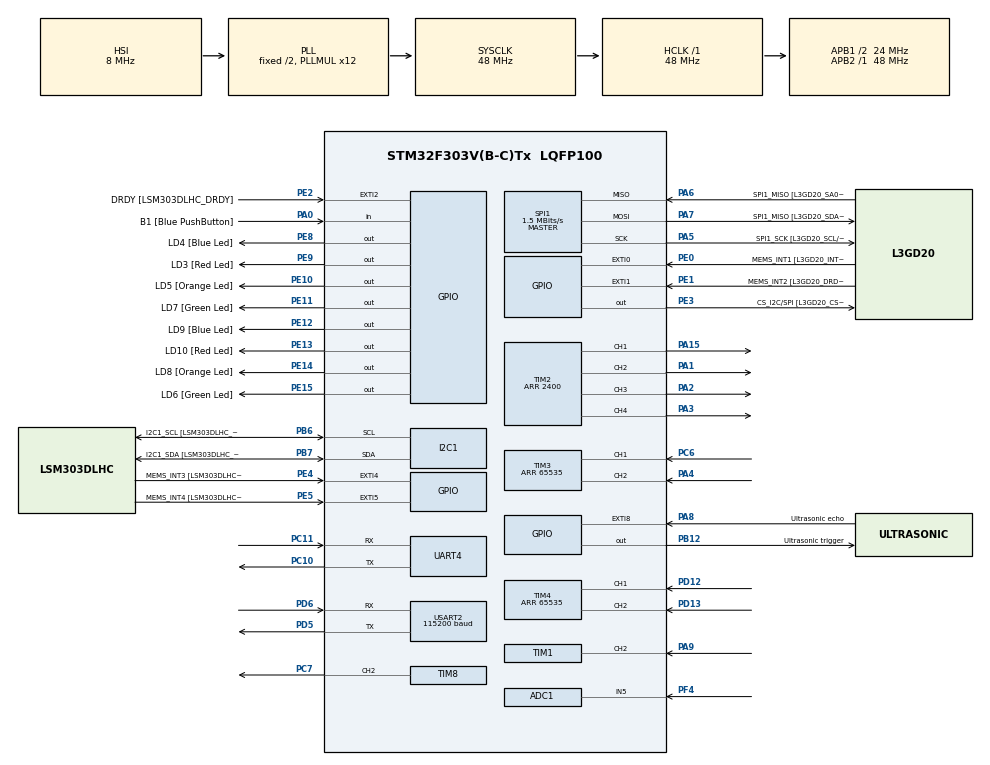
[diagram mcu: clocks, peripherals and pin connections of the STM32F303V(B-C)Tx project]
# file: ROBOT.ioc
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ADC1.Channel-0\#ChannelRegularConversion=ADC_CHANNEL_5
ADC1.ContinuousConvMode=ENABLE
ADC1.NbrOfConversionFlag=1
ADC1.Offset-0\#ChannelRegularConversion=0
ADC1.OffsetNumber-0\#ChannelRegularConversion=ADC_OFFSET_NONE
ADC1.Rank-0\#ChannelRegularConversion=1
ADC1.SamplingTime-0\#ChannelRegularConversion=ADC_SAMPLETIME_1CYCLE_5
ADC1.master=1
Dma.Request0=UART4_RX
Dma.Request1=UART4_TX
Dma.Request2=USART2_RX
Dma.Request3=USART2_TX
Dma.UART4_RX.0.Direction=DMA_PERIPH_TO_MEMORY
Dma.UART4_RX.0.Instance=DMA2_Channel3
Dma.UART4_RX.0.MemDataAlignment=DMA_MDATAALIGN_BYTE
Dma.UART4_RX.0.MemInc=DMA_MINC_ENABLE
Dma.UART4_RX.0.Mode=DMA_NORMAL
Dma.UART4_RX.0.PeriphDataAlignment=DMA_PDATAALIGN_BYTE
Dma.UART4_RX.0.PeriphInc=DMA_PINC_DISABLE
Dma.UART4_RX.0.Priority=DMA_PRIORITY_LOW
Dma.UART4_TX.1.Direction=DMA_MEMORY_TO_PERIPH
Dma.UART4_TX.1.Instance=DMA2_Channel5
Dma.UART4_TX.1.MemDataAlignment=DMA_MDATAALIGN_BYTE
Dma.UART4_TX.1.MemInc=DMA_MINC_ENABLE
Dma.UART4_TX.1.Mode=DMA_NORMAL
Dma.UART4_TX.1.PeriphDataAlignment=DMA_PDATAALIGN_BYTE
Dma.UART4_TX.1.PeriphInc=DMA_PINC_DISABLE
Dma.UART4_TX.1.Priority=DMA_PRIORITY_LOW
Dma.USART2_RX.2.Direction=DMA_PERIPH_TO_MEMORY
Dma.USART2_RX.2.Instance=DMA1_Channel6
Dma.USART2_RX.2.MemDataAlignment=DMA_MDATAALIGN_BYTE
Dma.USART2_RX.2.MemInc=DMA_MINC_ENABLE
Dma.USART2_RX.2.Mode=DMA_NORMAL
Dma.USART2_RX.2.PeriphDataAlignment=DMA_PDATAALIGN_BYTE
Dma.USART2_RX.2.PeriphInc=DMA_PINC_DISABLE
Dma.USART2_RX.2.Priority=DMA_PRIORITY_LOW
Dma.USART2_TX.3.Direction=DMA_MEMORY_TO_PERIPH
Dma.USART2_TX.3.Instance=DMA1_Channel7
Dma.USART2_TX.3.MemDataAlignment=DMA_MDATAALIGN_BYTE
Dma.USART2_TX.3.MemInc=DMA_MINC_ENABLE
Dma.USART2_TX.3.Mode=DMA_NORMAL
Dma.USART2_TX.3.PeriphDataAlignment=DMA_PDATAALIGN_BYTE
Dma.USART2_TX.3.PeriphInc=DMA_PINC_DISABLE
Dma.USART2_TX.3.Priority=DMA_PRIORITY_LOW
FREERTOS.Tasks01=defaultTask,-3,128,StartDefaultTask;sensorTask,0,128,StartSensorTask;motorCtrlTask,2,128,StartMotorCtrllTask
Mcu.Family=STM32F3
Mcu.Name=STM32F303V(B-C)Tx
Mcu.Package=LQFP100
NVIC.DMA1_Channel6_IRQn=true\:5\:0\:false
NVIC.DMA1_Channel7_IRQn=true\:5\:0\:false
NVIC.DMA2_Channel3_IRQn=true\:5\:0\:false
NVIC.DMA2_Channel5_IRQn=true\:5\:0\:false
NVIC.EXTI9_5_IRQn=true\:5\:0\:false
NVIC.PriorityGroup=NVIC_PRIORITYGROUP_4
NVIC.TIM1_CC_IRQn=true\:5\:0\:true
NVIC.TIM7_IRQn=true\:5\:0\:false
NVIC.TimeBase=TIM7_IRQn
NVIC.TimeBaseIP=TIM7
NVIC.UART4_IRQn=true\:5\:0\:false
NVIC.USART2_IRQn=true\:5\:0\:false
PA0.GPIO_Label=B1 [Blue PushButton]
PA0.GPIO_Mode=GPIO_MODE_INPUT
PA0.GPIO_PuPd=GPIO_NOPULL
PA0.Signal=GPIO_Input
PA1.Signal=S_TIM2_CH2
PA11.GPIO_Label=DM
PA11.Signal=USB_DM
PA12.GPIO_Label=DP
PA12.Signal=USB_DP
PA13.GPIO_Label=SWDIO
PA13.Mode=Trace-Asynchronous_SW
PA13.Signal=SYS_JTMS-SWDIO
PA14.GPIO_Label=SWCLK
PA14.Mode=Trace-Asynchronous_SW
PA14.Signal=SYS_JTCK-SWCLK
PA15.Signal=S_TIM2_CH1_ETR
PA2.Signal=S_TIM2_CH3
PA3.Signal=S_TIM2_CH4
PA4.GPIO_PuPd=GPIO_PULLUP
PA4.Signal=S_TIM3_CH2
PA5.GPIO_Label=SPI1_SCK [L3GD20_SCL/SPC]
PA5.GPIO_Mode=GPIO_MODE_AF_PP
PA5.GPIO_PuPd=GPIO_NOPULL
PA5.GPIO_Speed=GPIO_SPEED_LOW
PA5.Mode=Full_Duplex_Master
PA5.Signal=SPI1_SCK
PA6.GPIO_Label=SPI1_MISO [L3GD20_SA0/SDO]
PA6.GPIO_Mode=GPIO_MODE_AF_PP
PA6.GPIO_PuPd=GPIO_NOPULL
PA6.GPIO_Speed=GPIO_SPEED_LOW
PA6.Mode=Full_Duplex_Master
PA6.Signal=SPI1_MISO
PA7.GPIO_Label=SPI1_MISO [L3GD20_SDA/SDI/SDO]
PA7.GPIO_Mode=GPIO_MODE_AF_PP
PA7.GPIO_PuPd=GPIO_NOPULL
PA7.GPIO_Speed=GPIO_SPEED_LOW
PA7.Mode=Full_Duplex_Master
PA7.Signal=SPI1_MOSI
PA8.GPIO_Label=Ultrasonic echo
PA8.GPIO_ModeDefaultEXTI=GPIO_MODE_IT_RISING_FALLING
PA8.Signal=GPXTI8
PA9.Signal=S_TIM1_CH2
PB12.GPIO_Label=Ultrasonic trigger
PB12.GPIO_Speed=GPIO_SPEED_HIGH
PB12.Signal=GPIO_Output
PB3.GPIO_Label=SWO
PB3.Mode=Trace-Asynchronous_SW
PB3.Signal=SYS_JTDO-TRACESWO
PB6.GPIO_FM6=__NULL
PB6.GPIO_Label=I2C1_SCL [LSM303DLHC_SCL]
PB6.GPIO_Mode=GPIO_MODE_AF_OD
PB6.GPIO_PuPd=GPIO_NOPULL
PB6.GPIO_Speed=GPIO_SPEED_LOW
PB6.Mode=I2C
PB6.Signal=I2C1_SCL
PB7.GPIO_FM7=__NULL
PB7.GPIO_Label=I2C1_SDA [LSM303DLHC_SDA]
PB7.GPIO_Mode=GPIO_MODE_AF_OD
PB7.GPIO_PuPd=GPIO_NOPULL
PB7.GPIO_Speed=GPIO_SPEED_LOW
PB7.Mode=I2C
PB7.Signal=I2C1_SDA
PC10.Mode=Asynchronous
PC10.Signal=UART4_TX
PC11.Mode=Asynchronous
PC11.Signal=UART4_RX
PC14-OSC32_IN.GPIO_Label=OSC32_IN
PC14-OSC32_IN.Signal=RCC_OSC32_IN
PC15-OSC32_OUT.GPIO_Label=OSC32_OUT
PC15-OSC32_OUT.Signal=RCC_OSC32_OUT
PC6.GPIO_PuPd=GPIO_PULLUP
PC6.Signal=S_TIM3_CH1
PC7.Signal=S_TIM8_CH2
PD12.GPIO_PuPd=GPIO_PULLUP
PD12.Signal=S_TIM4_CH1
PD13.GPIO_PuPd=GPIO_PULLUP
PD13.Signal=S_TIM4_CH2
PD5.Mode=Asynchronous
PD5.Signal=USART2_TX
PD6.Mode=Asynchronous
PD6.Signal=USART2_RX
PE0.GPIO_Label=MEMS_INT1 [L3GD20_INT1]
PE0.GPIO_ModeDefaultEXTI=GPIO_MODE_EVT_RISING
PE0.GPIO_PuPd=GPIO_NOPULL
PE0.Signal=GPXTI0
PE1.GPIO_Label=MEMS_INT2 [L3GD20_DRDY/INT2]
PE1.GPIO_ModeDefaultEXTI=GPIO_MODE_EVT_RISING
PE1.GPIO_PuPd=GPIO_NOPULL
PE1.Signal=GPXTI1
PE10.GPIO_Label=LD5 [Orange Led]
PE10.GPIO_ModeDefaultOutputPP=GPIO_MODE_OUTPUT_PP
PE10.GPIO_PuPd=GPIO_NOPULL
PE10.GPIO_Speed=GPIO_SPEED_LOW
PE10.Signal=GPIO_Output
PE11.GPIO_Label=LD7 [Green Led]
PE11.GPIO_ModeDefaultOutputPP=GPIO_MODE_OUTPUT_PP
PE11.GPIO_PuPd=GPIO_NOPULL
PE11.GPIO_Speed=GPIO_SPEED_LOW
PE11.Signal=GPIO_Output
PE12.GPIO_Label=LD9 [Blue Led]
PE12.GPIO_ModeDefaultOutputPP=GPIO_MODE_OUTPUT_PP
PE12.GPIO_PuPd=GPIO_NOPULL
PE12.GPIO_Speed=GPIO_SPEED_LOW
PE12.Signal=GPIO_Output
PE13.GPIO_Label=LD10 [Red Led]
PE13.GPIO_ModeDefaultOutputPP=GPIO_MODE_OUTPUT_PP
PE13.GPIO_PuPd=GPIO_NOPULL
PE13.GPIO_Speed=GPIO_SPEED_LOW
PE13.Signal=GPIO_Output
PE14.GPIO_Label=LD8 [Orange Led]
PE14.GPIO_ModeDefaultOutputPP=GPIO_MODE_OUTPUT_PP
PE14.GPIO_PuPd=GPIO_NOPULL
PE14.GPIO_Speed=GPIO_SPEED_LOW
PE14.Signal=GPIO_Output
PE15.GPIO_Label=LD6 [Green Led]
PE15.GPIO_ModeDefaultOutputPP=GPIO_MODE_OUTPUT_PP
PE15.GPIO_PuPd=GPIO_NOPULL
PE15.GPIO_Speed=GPIO_SPEED_LOW
PE15.Signal=GPIO_Output
PE2.GPIO_Label=DRDY [LSM303DLHC_DRDY]
PE2.GPIO_ModeDefaultEXTI=GPIO_MODE_EVT_RISING
PE2.GPIO_PuPd=GPIO_NOPULL
PE2.Signal=GPXTI2
PE3.GPIO_Label=CS_I2C/SPI [L3GD20_CS_I2C/SPI]
PE3.GPIO_ModeDefaultOutputPP=GPIO_MODE_OUTPUT_PP
PE3.GPIO_PuPd=GPIO_NOPULL
PE3.GPIO_Speed=GPIO_SPEED_LOW
PE3.Signal=GPIO_Output
PE4.GPIO_Label=MEMS_INT3 [LSM303DLHC_INT1]
PE4.GPIO_ModeDefaultEXTI=GPIO_MODE_EVT_RISING
PE4.GPIO_PuPd=GPIO_NOPULL
PE4.Signal=GPXTI4
PE5.GPIO_Label=MEMS_INT4 [LSM303DLHC_INT2]
PE5.GPIO_ModeDefaultEXTI=GPIO_MODE_EVT_RISING
PE5.GPIO_PuPd=GPIO_NOPULL
PE5.Signal=GPXTI5
PE8.GPIO_Label=LD4 [Blue Led]
PE8.GPIO_ModeDefaultOutputPP=GPIO_MODE_OUTPUT_PP
PE8.GPIO_PuPd=GPIO_NOPULL
PE8.GPIO_Speed=GPIO_SPEED_LOW
PE8.Signal=GPIO_Output
PE9.GPIO_Label=LD3 [Red Led]
PE9.GPIO_ModeDefaultOutputPP=GPIO_MODE_OUTPUT_PP
PE9.GPIO_PuPd=GPIO_NOPULL
PE9.GPIO_Speed=GPIO_SPEED_LOW
PE9.Signal=GPIO_Output
PF0-OSC_IN.GPIO_Label=OSC_IN
PF0-OSC_IN.Signal=RCC_OSC_IN
PF1-OSC_OUT.GPIO_Label=OSC_OUT
PF1-OSC_OUT.Signal=RCC_OSC_OUT
PF4.Mode=IN5-Single-Ended
PF4.Signal=ADC1_IN5
ProjectManager.TargetToolchain=EWARM
RCC.AHBFreq_Value=48000000
RCC.APB1CLKDivider=RCC_HCLK_DIV2
RCC.APB1Freq_Value=24000000
RCC.APB1TimFreq_Value=48000000
RCC.APB2Freq_Value=48000000
RCC.APB2TimFreq_Value=48000000
RCC.CortexFreq_Value=48000000
RCC.HCLKFreq_Value=48000000
RCC.HSE_VALUE=8000000
RCC.HSI_VALUE=8000000
RCC.LSE_VALUE=32768
RCC.PLLMUL=RCC_PLL_MUL12
RCC.SYSCLKFreq_VALUE=48000000
RCC.SYSCLKSourceVirtual=RCC_SYSCLKSOURCE_PLLCLK
RCC.USBFreq_Value=48000000
SH.S_TIM1_CH2.0=TIM1_CH2,PWM_Input_2
SH.S_TIM2_CH1_ETR.0=TIM2_CH1,PWM Generation1 CH1
SH.S_TIM2_CH2.0=TIM2_CH2,PWM Generation2 CH2
SH.S_TIM2_CH3.0=TIM2_CH3,PWM Generation3 CH3
SH.S_TIM2_CH4.0=TIM2_CH4,PWM Generation4 CH4
SH.S_TIM3_CH1.0=TIM3_CH1,Encoder_Interface
SH.S_TIM3_CH2.0=TIM3_CH2,Encoder_Interface
SH.S_TIM4_CH1.0=TIM4_CH1,Encoder_Interface
SH.S_TIM4_CH2.0=TIM4_CH2,Encoder_Interface
SH.S_TIM8_CH2.0=TIM8_CH2,PWM Generation2 CH2
SPI1.BaudRatePrescaler=SPI_BAUDRATEPRESCALER_32
SPI1.CalculateBaudRate=1.5 MBits/s
SPI1.Mode=SPI_MODE_MASTER
TIM1.ICPolarity_1=TIM_INPUTCHANNELPOLARITY_FALLING
TIM1.Period=65535
TIM1.Prescaler=480
TIM2.Channel-PWM\ Generation2\ CH2=TIM_CHANNEL_2
TIM2.Channel-PWM\ Generation3\ CH3=TIM_CHANNEL_3
TIM2.Channel-PWM\ Generation4\ CH4=TIM_CHANNEL_4
TIM2.Period=2400
TIM3.EncoderMode=TIM_ENCODERMODE_TI12
TIM3.IC1Filter=5
TIM3.IC2Filter=5
TIM3.Period=65535
TIM4.EncoderMode=TIM_ENCODERMODE_TI12
TIM4.IC1Filter=5
TIM4.IC2Filter=5
TIM4.Period=65535
TIM6.Period=65535
TIM8.Channel-PWM\ Generation2\ CH2=TIM_CHANNEL_2
TIM8.Period=2400
USART2.BaudRate=115200
VP_FREERTOS_VS_ENABLE.Mode=Enabled
VP_SYS_VS_tim7.Mode=TIM7
VP_TIM6_VS_ClockSourceINT.Mode=Enable_Timer
board=STM32F3DISCOVERY

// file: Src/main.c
/**
  ******************************************************************************
  * File Name          : main.c
  * Description        : Main program body
  ******************************************************************************
  *
  * COPYRIGHT(c) 2016 STMicroelectronics
  *
  * Redistribution and use in source and binary forms, with or without modification,
  * are permitted provided that the following conditions are met:
  *   1. Redistributions of source code must retain the above copyright notice,
  *      this list of conditions and the following disclaimer.
  *   2. Redistributions in binary form must reproduce the above copyright notice,
  *      this list of conditions and the following disclaimer in the documentation
  *      and/or other materials provided with the distribution.
  *   3. Neither the name of STMicroelectronics nor the names of its contributors
  *      may be used to endorse or promote products derived from this software
  *      without specific prior written permission.
  *
  * THIS SOFTWARE IS PROVIDED BY THE COPYRIGHT HOLDERS AND CONTRIBUTORS "AS IS"
  * AND ANY EXPRESS OR IMPLIED WARRANTIES, INCLUDING, BUT NOT LIMITED TO, THE
  * IMPLIED WARRANTIES OF MERCHANTABILITY AND FITNESS FOR A PARTICULAR PURPOSE ARE
  * DISCLAIMED. IN NO EVENT SHALL THE COPYRIGHT HOLDER OR CONTRIBUTORS BE LIABLE
  * FOR ANY DIRECT, INDIRECT, INCIDENTAL, SPECIAL, EXEMPLARY, OR CONSEQUENTIAL
  * DAMAGES (INCLUDING, BUT NOT LIMITED TO, PROCUREMENT OF SUBSTITUTE GOODS OR
  * SERVICES; LOSS OF USE, DATA, OR PROFITS; OR BUSINESS INTERRUPTION) HOWEVER
  * CAUSED AND ON ANY THEORY OF LIABILITY, WHETHER IN CONTRACT, STRICT LIABILITY,
  * OR TORT (INCLUDING NEGLIGENCE OR OTHERWISE) ARISING IN ANY WAY OUT OF THE USE
  * OF THIS SOFTWARE, EVEN IF ADVISED OF THE POSSIBILITY OF SUCH DAMAGE.
  *
  ******************************************************************************
  */
#include "stm32f3xx_hal.h"
#include "cmsis_os.h"

/* USER CODE BEGIN Includes */
#include <stdlib.h>
#include <math.h>
#include "main.h"
#include "filter.h"
/* USER CODE END Includes */

ADC_HandleTypeDef hadc1;

I2C_HandleTypeDef hi2c1;

SPI_HandleTypeDef hspi1;

TIM_HandleTypeDef htim1;
TIM_HandleTypeDef htim2;
TIM_HandleTypeDef htim3;
TIM_HandleTypeDef htim4;
TIM_HandleTypeDef htim6;
TIM_HandleTypeDef htim8;

UART_HandleTypeDef huart4;
UART_HandleTypeDef huart2;
DMA_HandleTypeDef hdma_uart4_rx;
DMA_HandleTypeDef hdma_uart4_tx;
DMA_HandleTypeDef hdma_usart2_rx;
DMA_HandleTypeDef hdma_usart2_tx;

osThreadId defaultTaskHandle;
osThreadId sensorTaskHandle;
osThreadId motorCtrlTaskHandle;

/* USER CODE BEGIN PV */
/* Private variables ---------------------------------------------------------*/
static const uint16_t inputAxis[10]     = {0,  1, 5, 10, 20, 30, 50, 70, 85, 100};
static const float outCurve[10] = {0, 0.1, 0.25, 0.35, 0.5, 0.55, 0.65, 0.9, 1.3, 2.0};  // komfort

uint32_t msTime = 0;
uint32_t uart4RxTimeStamp = 0;

static volatile int16_t rawAngleLeft = 0;
static volatile int16_t rawAngleRight = 0;
static float toMeterFactor = 0.0082;
static float posLeft = 0.0;
static float posRight = 0.0;
static float posLeft_prev = 0.0;
static float posRight_prev = 0.0;
static volatile float spdLeft = 0.0;
static volatile float spdRight = 0.0;
static float spdLeftFiltered = 0.0;
static float spdRightFiltered = 0.0;
//static float accLeft = 0.0;
//static float accRight = 0.0;
//static float accLeftFiltered = 0.0;
//static float accRightFiltered = 0.0;
static volatile float gyroX,gyroY,gyroZ = 0;
static float compassX,compassY,compassZ = 0;
static volatile float compassX_Max,compassY_Max,compassZ_Max = 0;
static volatile float compassX_Min,compassY_Min,compassZ_Min = 0;
static volatile float compassX_Range,compassY_Range,compassZ_Range = 0;
static volatile float compassX_Norm,compassY_Norm,compassZ_Norm = 0;
static volatile float compassX_NormFiltered,compassY_NormFiltered,compassZ_NormFiltered = 0;
static volatile float compassX_NormFilteredTilted,compassY_NormFilteredTilted = 0.0f;
static volatile float roll,pitch,heading = 0;

static volatile float temperature,temperatureGyro = 0;

static volatile float fNormAcc,fSinRoll,fCosRoll,fSinPitch,fCosPitch = 0.0f;

static volatile float accX,accY,accZ = 0;
static volatile float accXFiltered,accYFiltered,accZFiltered = 0;
static volatile float accXFilteredKalman,accYFilteredKalman,accZFilteredKalman = 0;
static volatile float accXFilteredLPF,accYFilteredLPF,accZFilteredLPF = 0;

static int16_t forceLeft = 0;
static int16_t forceLeftBeforeSaturation = 0;
static int16_t absForceLeft = 0;
static int16_t forceRight = 0;
static int16_t forceRightBeforeSaturation = 0;
static int16_t absForceRight = 0;
static int16_t hillHolderForceLeft = 0;
static int16_t hillHolderForceRight = 0;
static int16_t summaForceLeft = 0;
static int16_t summaForceRight = 0;

static uint16_t UserButtonPressed = 0;
static uint8_t enaSwitch = 1;

static volatile uint16_t rawADC = 0;
static volatile float batteryVoltage = 0;

static volatile uint32_t rawFrontDistance;
static volatile float frontDistance;

static uint8_t receiveBuffer[3]={0};
static float referenceSpeedLeft = 0;
static float referenceSpeedRight = 0;
static volatile float referenceSpeedLeftPrev = 0;
static volatile float referenceSpeedRightPrev = 0;
static float referenceSpeedLeftQualified = 0;
static float referenceSpeedRightQualified = 0;
static uint8_t lastSyncBranch = 2;
static uint8_t syncBranch = 2;
static int8_t syncCorruption = 0;

static volatile float spdErrorLeft = 0;
static volatile float spdErrorLeftBefore = 0;
static volatile float spdIntErrorLeft = 0;
static volatile float spdDerivatedErrorLeft = 0;
static volatile float spdErrorRight = 0;
static volatile float spdErrorRightBefore = 0;
static volatile float spdIntErrorRight = 0;
static volatile float spdDerivatedErrorRight = 0;

static volatile float ctrlP = 40;
static volatile float ctrlI = 0.04;
static volatile float ctrlD = 3;
static volatile float antiWindup = 1;

static volatile float hillHolderGainFW = -0.75;
static volatile float hillHolderGainBW = -0.45;

volatile long int ultrasonicDelay = 0;
static volatile uint16_t echoTimeStamp = 0;

/* USER CODE END PV */

void SystemClock_Config(void);
static void MX_GPIO_Init(void);
static void MX_DMA_Init(void);
static void MX_ADC1_Init(void);
static void MX_I2C1_Init(void);
static void MX_SPI1_Init(void);
static void MX_TIM1_Init(void);
static void MX_TIM2_Init(void);
static void MX_TIM3_Init(void);
static void MX_TIM4_Init(void);
static void MX_TIM6_Init(void);
static void MX_UART4_Init(void);
static void MX_USART2_UART_Init(void);
static void MX_TIM8_Init(void);
void StartDefaultTask(void const * argument);
void StartSensorTask(void const * argument);
void StartMotorCtrllTask(void const * argument);

void HAL_TIM_MspPostInit(TIM_HandleTypeDef *htim);

/* USER CODE BEGIN PFP */
/* Private function prototypes -----------------------------------------------*/

/* USER CODE END PFP */

/* USER CODE BEGIN 0 */
#define PI     3.14159
#define _2PI    6.28318
#define _180_PI 57.2958

#define COMPASS_X_MAX -687//569
#define COMPASS_X_MIN -1751//-560
#define COMPASS_Y_MAX 1055//491
#define COMPASS_Y_MIN -38//-653
#define COMPASS_Z_MAX 517//540
#define COMPASS_Z_MIN -585//-570
/* USER CODE END 0 */

int main(void)
{

  /* MCU Configuration----------------------------------------------------------*/

  /* Reset of all peripherals, Initializes the Flash interface and the Systick. */
  HAL_Init();

  /* Configure the system clock */
  SystemClock_Config();

  /* Initialize all configured peripherals */
  MX_GPIO_Init();
  MX_DMA_Init();
  MX_ADC1_Init();
  MX_I2C1_Init();
  MX_SPI1_Init();
  MX_TIM1_Init();
  MX_TIM2_Init();
  MX_TIM3_Init();
  MX_TIM4_Init();
  MX_TIM6_Init();
  MX_UART4_Init();
  MX_USART2_UART_Init();
  MX_TIM8_Init();

  /* USER CODE BEGIN 2 */
  HAL_TIM_PWM_Start(&htim2, TIM_CHANNEL_1);
  HAL_TIMEx_PWMN_Start(&htim2, TIM_CHANNEL_1);
  HAL_TIM_PWM_Start(&htim2, TIM_CHANNEL_2);
  HAL_TIMEx_PWMN_Start(&htim2, TIM_CHANNEL_2);
  HAL_TIM_PWM_Start(&htim2, TIM_CHANNEL_3);
  HAL_TIMEx_PWMN_Start(&htim2, TIM_CHANNEL_3);
  HAL_TIM_PWM_Start(&htim2, TIM_CHANNEL_4);
  HAL_TIMEx_PWMN_Start(&htim2, TIM_CHANNEL_4);

  HAL_TIM_PWM_Start(&htim8, TIM_CHANNEL_2);
  HAL_TIMEx_PWMN_Start(&htim8, TIM_CHANNEL_2);

  HAL_TIM_Encoder_Start(&htim3,TIM_CHANNEL_ALL);
  HAL_TIM_Encoder_Start(&htim4,TIM_CHANNEL_ALL);

  HAL_ADC_Start(&hadc1);

  HAL_TIM_IC_Start_IT(&htim1, TIM_CHANNEL_1);
  HAL_TIM_IC_Start_IT(&htim1, TIM_CHANNEL_2);

  TIM6->EGR = 1;           // Generate an update event
  TIM6->CR1 = 1;           // Enable the counter

  TIM8->CCR2 = 5*2400/100;

  BSP_PB_Init(BUTTON_USER, BUTTON_MODE_EXTI);
  BSP_LED_Init(LED4);
  BSP_LED_Init(LED3);
  BSP_LED_Init(LED5);
  BSP_LED_Init(LED7);
  BSP_LED_Init(LED9);
  BSP_LED_Init(LED10);
  BSP_LED_Init(LED8);
  BSP_LED_Init(LED6);

  BSP_GYRO_Init();
  BSP_ACCELERO_Init();
  MAGNET_Init();

  /* USER CODE END 2 */

  /* Create the thread(s) */
  /* definition and creation of defaultTask */
  osThreadDef(defaultTask, StartDefaultTask, osPriorityIdle, 0, 128);
  defaultTaskHandle = osThreadCreate(osThread(defaultTask), NULL);

  /* definition and creation of sensorTask */
  osThreadDef(sensorTask, StartSensorTask, osPriorityNormal, 0, 128);
  sensorTaskHandle = osThreadCreate(osThread(sensorTask), NULL);

  /* definition and creation of motorCtrlTask */
  osThreadDef(motorCtrlTask, StartMotorCtrllTask, osPriorityHigh, 0, 128);
  motorCtrlTaskHandle = osThreadCreate(osThread(motorCtrlTask), NULL);

  /* Start scheduler */
  osKernelStart();

  /* We should never get here as control is now taken by the scheduler */

  /* Infinite loop */
  while (1)
  {

  }

}

/** System Clock Configuration
*/
void SystemClock_Config(void)
{

  RCC_OscInitTypeDef RCC_OscInitStruct;
  RCC_ClkInitTypeDef RCC_ClkInitStruct;
  RCC_PeriphCLKInitTypeDef PeriphClkInit;

  RCC_OscInitStruct.OscillatorType = RCC_OSCILLATORTYPE_HSI;
  RCC_OscInitStruct.HSIState = RCC_HSI_ON;
  RCC_OscInitStruct.HSICalibrationValue = 16;
  RCC_OscInitStruct.PLL.PLLState = RCC_PLL_ON;
  RCC_OscInitStruct.PLL.PLLSource = RCC_PLLSOURCE_HSI;
  RCC_OscInitStruct.PLL.PLLMUL = RCC_PLL_MUL12;
  HAL_RCC_OscConfig(&RCC_OscInitStruct);

  RCC_ClkInitStruct.ClockType = RCC_CLOCKTYPE_HCLK|RCC_CLOCKTYPE_SYSCLK
                              |RCC_CLOCKTYPE_PCLK1|RCC_CLOCKTYPE_PCLK2;
  RCC_ClkInitStruct.SYSCLKSource = RCC_SYSCLKSOURCE_PLLCLK;
  RCC_ClkInitStruct.AHBCLKDivider = RCC_SYSCLK_DIV1;
  RCC_ClkInitStruct.APB1CLKDivider = RCC_HCLK_DIV2;
  RCC_ClkInitStruct.APB2CLKDivider = RCC_HCLK_DIV1;
  HAL_RCC_ClockConfig(&RCC_ClkInitStruct, FLASH_LATENCY_1);

  PeriphClkInit.PeriphClockSelection = RCC_PERIPHCLK_USART2|RCC_PERIPHCLK_UART4
                              |RCC_PERIPHCLK_I2C1|RCC_PERIPHCLK_TIM1
                              |RCC_PERIPHCLK_TIM8|RCC_PERIPHCLK_ADC12;
  PeriphClkInit.Usart2ClockSelection = RCC_USART2CLKSOURCE_PCLK1;
  PeriphClkInit.Uart4ClockSelection = RCC_UART4CLKSOURCE_PCLK1;
  PeriphClkInit.Adc12ClockSelection = RCC_ADC12PLLCLK_DIV1;
  PeriphClkInit.I2c1ClockSelection = RCC_I2C1CLKSOURCE_HSI;
  PeriphClkInit.Tim1ClockSelection = RCC_TIM1CLK_HCLK;
  PeriphClkInit.Tim8ClockSelection = RCC_TIM8CLK_HCLK;
  HAL_RCCEx_PeriphCLKConfig(&PeriphClkInit);

  HAL_SYSTICK_Config(HAL_RCC_GetHCLKFreq()/1000);

  HAL_SYSTICK_CLKSourceConfig(SYSTICK_CLKSOURCE_HCLK);

  /* SysTick_IRQn interrupt configuration */
  HAL_NVIC_SetPriority(SysTick_IRQn, 0, 0);
}

/* ADC1 init function */
void MX_ADC1_Init(void)
{

  ADC_ChannelConfTypeDef sConfig;

    /**Common config
    */
  hadc1.Instance = ADC1;
  hadc1.Init.ClockPrescaler = ADC_CLOCK_ASYNC;
  hadc1.Init.Resolution = ADC_RESOLUTION12b;
  hadc1.Init.ScanConvMode = ADC_SCAN_DISABLE;
  hadc1.Init.ContinuousConvMode = ENABLE;
  hadc1.Init.DiscontinuousConvMode = DISABLE;
  hadc1.Init.ExternalTrigConvEdge = ADC_EXTERNALTRIGCONVEDGE_NONE;
  hadc1.Init.DataAlign = ADC_DATAALIGN_RIGHT;
  hadc1.Init.NbrOfConversion = 1;
  hadc1.Init.DMAContinuousRequests = DISABLE;
  hadc1.Init.EOCSelection = EOC_SINGLE_CONV;
  hadc1.Init.LowPowerAutoWait = DISABLE;
  hadc1.Init.Overrun = OVR_DATA_OVERWRITTEN;
  HAL_ADC_Init(&hadc1);

    /**Configure Regular Channel
    */
  sConfig.Channel = ADC_CHANNEL_5;
  sConfig.Rank = 1;
  sConfig.SingleDiff = ADC_SINGLE_ENDED;
  sConfig.SamplingTime = ADC_SAMPLETIME_1CYCLE_5;
  sConfig.OffsetNumber = ADC_OFFSET_NONE;
  sConfig.Offset = 0;
  HAL_ADC_ConfigChannel(&hadc1, &sConfig);

}

/* I2C1 init function */
void MX_I2C1_Init(void)
{

  hi2c1.Instance = I2C1;
  hi2c1.Init.Timing = 0x2000090E;
  hi2c1.Init.OwnAddress1 = 0;
  hi2c1.Init.AddressingMode = I2C_ADDRESSINGMODE_7BIT;
  hi2c1.Init.DualAddressMode = I2C_DUALADDRESS_DISABLED;
  hi2c1.Init.OwnAddress2 = 0;
  hi2c1.Init.OwnAddress2Masks = I2C_OA2_NOMASK;
  hi2c1.Init.GeneralCallMode = I2C_GENERALCALL_DISABLED;
  hi2c1.Init.NoStretchMode = I2C_NOSTRETCH_DISABLED;
  HAL_I2C_Init(&hi2c1);

    /**Configure Analogue filter
    */
  HAL_I2CEx_AnalogFilter_Config(&hi2c1, I2C_ANALOGFILTER_ENABLED);

}

/* SPI1 init function */
void MX_SPI1_Init(void)
{

  hspi1.Instance = SPI1;
  hspi1.Init.Mode = SPI_MODE_MASTER;
  hspi1.Init.Direction = SPI_DIRECTION_2LINES;
  hspi1.Init.DataSize = SPI_DATASIZE_4BIT;
  hspi1.Init.CLKPolarity = SPI_POLARITY_LOW;
  hspi1.Init.CLKPhase = SPI_PHASE_1EDGE;
  hspi1.Init.NSS = SPI_NSS_SOFT;
  hspi1.Init.BaudRatePrescaler = SPI_BAUDRATEPRESCALER_32;
  hspi1.Init.FirstBit = SPI_FIRSTBIT_MSB;
  hspi1.Init.TIMode = SPI_TIMODE_DISABLED;
  hspi1.Init.CRCCalculation = SPI_CRCCALCULATION_DISABLED;
  hspi1.Init.CRCPolynomial = 7;
  hspi1.Init.CRCLength = SPI_CRC_LENGTH_DATASIZE;
  hspi1.Init.NSSPMode = SPI_NSS_PULSE_ENABLED;
  HAL_SPI_Init(&hspi1);

}

/* TIM1 init function */
void MX_TIM1_Init(void)
{

  TIM_SlaveConfigTypeDef sSlaveConfig;
  TIM_IC_InitTypeDef sConfigIC;
  TIM_MasterConfigTypeDef sMasterConfig;

  htim1.Instance = TIM1;
  htim1.Init.Prescaler = 480;
  htim1.Init.CounterMode = TIM_COUNTERMODE_UP;
  htim1.Init.Period = 65535;
  htim1.Init.ClockDivision = TIM_CLOCKDIVISION_DIV1;
  htim1.Init.RepetitionCounter = 0;
  HAL_TIM_IC_Init(&htim1);

  sSlaveConfig.SlaveMode = TIM_SLAVEMODE_RESET;
  sSlaveConfig.InputTrigger = TIM_TS_TI2FP2;
  sSlaveConfig.TriggerPolarity = TIM_INPUTCHANNELPOLARITY_RISING;
  sSlaveConfig.TriggerPrescaler = TIM_ICPSC_DIV1;
  sSlaveConfig.TriggerFilter = 0;
  HAL_TIM_SlaveConfigSynchronization(&htim1, &sSlaveConfig);

  sConfigIC.ICPolarity = TIM_INPUTCHANNELPOLARITY_FALLING;
  sConfigIC.ICSelection = TIM_ICSELECTION_INDIRECTTI;
  sConfigIC.ICPrescaler = TIM_ICPSC_DIV1;
  sConfigIC.ICFilter = 0;
  HAL_TIM_IC_ConfigChannel(&htim1, &sConfigIC, TIM_CHANNEL_1);

  sConfigIC.ICPolarity = TIM_INPUTCHANNELPOLARITY_RISING;
  sConfigIC.ICSelection = TIM_ICSELECTION_DIRECTTI;
  HAL_TIM_IC_ConfigChannel(&htim1, &sConfigIC, TIM_CHANNEL_2);

  sMasterConfig.MasterOutputTrigger = TIM_TRGO_RESET;
  sMasterConfig.MasterOutputTrigger2 = TIM_TRGO2_RESET;
  sMasterConfig.MasterSlaveMode = TIM_MASTERSLAVEMODE_DISABLE;
  HAL_TIMEx_MasterConfigSynchronization(&htim1, &sMasterConfig);

}

/* TIM2 init function */
void MX_TIM2_Init(void)
{

  TIM_MasterConfigTypeDef sMasterConfig;
  TIM_OC_InitTypeDef sConfigOC;

  htim2.Instance = TIM2;
  htim2.Init.Prescaler = 0;
  htim2.Init.CounterMode = TIM_COUNTERMODE_UP;
  htim2.Init.Period = 2400;
  htim2.Init.ClockDivision = TIM_CLOCKDIVISION_DIV1;
  HAL_TIM_PWM_Init(&htim2);

  sMasterConfig.MasterOutputTrigger = TIM_TRGO_RESET;
  sMasterConfig.MasterSlaveMode = TIM_MASTERSLAVEMODE_DISABLE;
  HAL_TIMEx_MasterConfigSynchronization(&htim2, &sMasterConfig);

  sConfigOC.OCMode = TIM_OCMODE_PWM1;
  sConfigOC.Pulse = 0;
  sConfigOC.OCPolarity = TIM_OCPOLARITY_HIGH;
  sConfigOC.OCFastMode = TIM_OCFAST_DISABLE;
  HAL_TIM_PWM_ConfigChannel(&htim2, &sConfigOC, TIM_CHANNEL_1);

  HAL_TIM_PWM_ConfigChannel(&htim2, &sConfigOC, TIM_CHANNEL_2);

  HAL_TIM_PWM_ConfigChannel(&htim2, &sConfigOC, TIM_CHANNEL_3);

  HAL_TIM_PWM_ConfigChannel(&htim2, &sConfigOC, TIM_CHANNEL_4);

  HAL_TIM_MspPostInit(&htim2);

}

/* TIM3 init function */
void MX_TIM3_Init(void)
{

  TIM_Encoder_InitTypeDef sConfig;
  TIM_MasterConfigTypeDef sMasterConfig;

  htim3.Instance = TIM3;
  htim3.Init.Prescaler = 0;
  htim3.Init.CounterMode = TIM_COUNTERMODE_UP;
  htim3.Init.Period = 65535;
  htim3.Init.ClockDivision = TIM_CLOCKDIVISION_DIV1;
  sConfig.EncoderMode = TIM_ENCODERMODE_TI12;
  sConfig.IC1Polarity = TIM_ICPOLARITY_RISING;
  sConfig.IC1Selection = TIM_ICSELECTION_DIRECTTI;
  sConfig.IC1Prescaler = TIM_ICPSC_DIV1;
  sConfig.IC1Filter = 5;
  sConfig.IC2Polarity = TIM_ICPOLARITY_RISING;
  sConfig.IC2Selection = TIM_ICSELECTION_DIRECTTI;
  sConfig.IC2Prescaler = TIM_ICPSC_DIV1;
  sConfig.IC2Filter = 5;
  HAL_TIM_Encoder_Init(&htim3, &sConfig);

  sMasterConfig.MasterOutputTrigger = TIM_TRGO_RESET;
  sMasterConfig.MasterSlaveMode = TIM_MASTERSLAVEMODE_DISABLE;
  HAL_TIMEx_MasterConfigSynchronization(&htim3, &sMasterConfig);

}

/* TIM4 init function */
void MX_TIM4_Init(void)
{

  TIM_Encoder_InitTypeDef sConfig;
  TIM_MasterConfigTypeDef sMasterConfig;

  htim4.Instance = TIM4;
  htim4.Init.Prescaler = 0;
  htim4.Init.CounterMode = TIM_COUNTERMODE_UP;
  htim4.Init.Period = 65535;
  htim4.Init.ClockDivision = TIM_CLOCKDIVISION_DIV1;
  sConfig.EncoderMode = TIM_ENCODERMODE_TI12;
  sConfig.IC1Polarity = TIM_ICPOLARITY_RISING;
  sConfig.IC1Selection = TIM_ICSELECTION_DIRECTTI;
  sConfig.IC1Prescaler = TIM_ICPSC_DIV1;
  sConfig.IC1Filter = 5;
  sConfig.IC2Polarity = TIM_ICPOLARITY_RISING;
  sConfig.IC2Selection = TIM_ICSELECTION_DIRECTTI;
  sConfig.IC2Prescaler = TIM_ICPSC_DIV1;
  sConfig.IC2Filter = 5;
  HAL_TIM_Encoder_Init(&htim4, &sConfig);

  sMasterConfig.MasterOutputTrigger = TIM_TRGO_RESET;
  sMasterConfig.MasterSlaveMode = TIM_MASTERSLAVEMODE_DISABLE;
  HAL_TIMEx_MasterConfigSynchronization(&htim4, &sMasterConfig);

}

/* TIM6 init function */
void MX_TIM6_Init(void)
{

  TIM_MasterConfigTypeDef sMasterConfig;

  htim6.Instance = TIM6;
  htim6.Init.Prescaler = 0;
  htim6.Init.CounterMode = TIM_COUNTERMODE_UP;
  htim6.Init.Period = 65535;
  HAL_TIM_Base_Init(&htim6);

  sMasterConfig.MasterOutputTrigger = TIM_TRGO_RESET;
  sMasterConfig.MasterSlaveMode = TIM_MASTERSLAVEMODE_DISABLE;
  HAL_TIMEx_MasterConfigSynchronization(&htim6, &sMasterConfig);

}

/* TIM8 init function */
void MX_TIM8_Init(void)
{

  TIM_MasterConfigTypeDef sMasterConfig;
  TIM_BreakDeadTimeConfigTypeDef sBreakDeadTimeConfig;
  TIM_OC_InitTypeDef sConfigOC;

  htim8.Instance = TIM8;
  htim8.Init.Prescaler = 0;
  htim8.Init.CounterMode = TIM_COUNTERMODE_UP;
  htim8.Init.Period = 2400;
  htim8.Init.ClockDivision = TIM_CLOCKDIVISION_DIV1;
  htim8.Init.RepetitionCounter = 0;
  HAL_TIM_PWM_Init(&htim8);

  sMasterConfig.MasterOutputTrigger = TIM_TRGO_RESET;
  sMasterConfig.MasterOutputTrigger2 = TIM_TRGO2_RESET;
  sMasterConfig.MasterSlaveMode = TIM_MASTERSLAVEMODE_DISABLE;
  HAL_TIMEx_MasterConfigSynchronization(&htim8, &sMasterConfig);

  sBreakDeadTimeConfig.OffStateRunMode = TIM_OSSR_DISABLE;
  sBreakDeadTimeConfig.OffStateIDLEMode = TIM_OSSI_DISABLE;
  sBreakDeadTimeConfig.LockLevel = TIM_LOCKLEVEL_OFF;
  sBreakDeadTimeConfig.DeadTime = 0;
  sBreakDeadTimeConfig.BreakState = TIM_BREAK_DISABLE;
  sBreakDeadTimeConfig.BreakPolarity = TIM_BREAKPOLARITY_HIGH;
  sBreakDeadTimeConfig.BreakFilter = 0;
  sBreakDeadTimeConfig.Break2State = TIM_BREAK2_DISABLE;
  sBreakDeadTimeConfig.Break2Polarity = TIM_BREAK2POLARITY_HIGH;
  sBreakDeadTimeConfig.Break2Filter = 0;
  sBreakDeadTimeConfig.AutomaticOutput = TIM_AUTOMATICOUTPUT_DISABLE;
  HAL_TIMEx_ConfigBreakDeadTime(&htim8, &sBreakDeadTimeConfig);

  sConfigOC.OCMode = TIM_OCMODE_PWM1;
  sConfigOC.Pulse = 0;
  sConfigOC.OCPolarity = TIM_OCPOLARITY_HIGH;
  sConfigOC.OCNPolarity = TIM_OCNPOLARITY_HIGH;
  sConfigOC.OCFastMode = TIM_OCFAST_DISABLE;
  sConfigOC.OCIdleState = TIM_OCIDLESTATE_RESET;
  sConfigOC.OCNIdleState = TIM_OCNIDLESTATE_RESET;
  HAL_TIM_PWM_ConfigChannel(&htim8, &sConfigOC, TIM_CHANNEL_2);

  HAL_TIM_MspPostInit(&htim8);

}

/* UART4 init function */
void MX_UART4_Init(void)
{

  huart4.Instance = UART4;
  huart4.Init.BaudRate = 115200;
  huart4.Init.WordLength = UART_WORDLENGTH_8B;
  huart4.Init.StopBits = UART_STOPBITS_1;
  huart4.Init.Parity = UART_PARITY_NONE;
  huart4.Init.Mode = UART_MODE_TX_RX;
  huart4.Init.HwFlowCtl = UART_HWCONTROL_NONE;
  huart4.Init.OverSampling = UART_OVERSAMPLING_16;
  huart4.Init.OneBitSampling = UART_ONEBIT_SAMPLING_DISABLED ;
  huart4.AdvancedInit.AdvFeatureInit = UART_ADVFEATURE_NO_INIT;
  HAL_UART_Init(&huart4);

}

/* USART2 init function */
void MX_USART2_UART_Init(void)
{

  huart2.Instance = USART2;
  huart2.Init.BaudRate = 115200;
  huart2.Init.WordLength = UART_WORDLENGTH_8B;
  huart2.Init.StopBits = UART_STOPBITS_1;
  huart2.Init.Parity = UART_PARITY_NONE;
  huart2.Init.Mode = UART_MODE_TX_RX;
  huart2.Init.HwFlowCtl = UART_HWCONTROL_NONE;
  huart2.Init.OverSampling = UART_OVERSAMPLING_16;
  huart2.Init.OneBitSampling = UART_ONEBIT_SAMPLING_DISABLED ;
  huart2.AdvancedInit.AdvFeatureInit = UART_ADVFEATURE_NO_INIT;
  HAL_UART_Init(&huart2);

}

void MX_DMA_Init(void)
{
  /* DMA controller clock enable */
  __DMA2_CLK_ENABLE();
  __DMA1_CLK_ENABLE();

  /* DMA interrupt init */
  HAL_NVIC_SetPriority(DMA1_Channel6_IRQn, 5, 0);
  HAL_NVIC_EnableIRQ(DMA1_Channel6_IRQn);
  HAL_NVIC_SetPriority(DMA1_Channel7_IRQn, 5, 0);
  HAL_NVIC_EnableIRQ(DMA1_Channel7_IRQn);
  HAL_NVIC_SetPriority(DMA2_Channel3_IRQn, 5, 0);
  HAL_NVIC_EnableIRQ(DMA2_Channel3_IRQn);
  HAL_NVIC_SetPriority(DMA2_Channel5_IRQn, 5, 0);
  HAL_NVIC_EnableIRQ(DMA2_Channel5_IRQn);

}

/** Configure pins as
        * Analog
        * Input
        * Output
        * EVENT_OUT
        * EXTI
     PA11   ------> USB_DM
     PA12   ------> USB_DP
*/
void MX_GPIO_Init(void)
{

  GPIO_InitTypeDef GPIO_InitStruct;

  /* GPIO Ports Clock Enable */
  __GPIOE_CLK_ENABLE();
  __GPIOC_CLK_ENABLE();
  __GPIOF_CLK_ENABLE();
  __GPIOA_CLK_ENABLE();
  __GPIOB_CLK_ENABLE();
  __GPIOD_CLK_ENABLE();

  /*Configure GPIO pins : DRDY_Pin MEMS_INT3_Pin MEMS_INT4_Pin MEMS_INT1_Pin
                           MEMS_INT2_Pin */
  GPIO_InitStruct.Pin = DRDY_Pin|MEMS_INT3_Pin|MEMS_INT4_Pin|MEMS_INT1_Pin
                          |MEMS_INT2_Pin;
  GPIO_InitStruct.Mode = GPIO_MODE_EVT_RISING;
  GPIO_InitStruct.Pull = GPIO_NOPULL;
  HAL_GPIO_Init(GPIOE, &GPIO_InitStruct);

  /*Configure GPIO pins : CS_I2C_SPI_Pin LD4_Pin LD3_Pin LD5_Pin
                           LD7_Pin LD9_Pin LD10_Pin LD8_Pin
                           LD6_Pin */
  GPIO_InitStruct.Pin = CS_I2C_SPI_Pin|LD4_Pin|LD3_Pin|LD5_Pin
                          |LD7_Pin|LD9_Pin|LD10_Pin|LD8_Pin
                          |LD6_Pin;
  GPIO_InitStruct.Mode = GPIO_MODE_OUTPUT_PP;
  GPIO_InitStruct.Pull = GPIO_NOPULL;
  GPIO_InitStruct.Speed = GPIO_SPEED_LOW;
  HAL_GPIO_Init(GPIOE, &GPIO_InitStruct);

  /*Configure GPIO pin : B1_Pin */
  GPIO_InitStruct.Pin = B1_Pin;
  GPIO_InitStruct.Mode = GPIO_MODE_INPUT;
  GPIO_InitStruct.Pull = GPIO_NOPULL;
  HAL_GPIO_Init(B1_GPIO_Port, &GPIO_InitStruct);

  /*Configure GPIO pin : Ultrasonic_trigger_Pin */
  GPIO_InitStruct.Pin = Ultrasonic_trigger_Pin;
  GPIO_InitStruct.Mode = GPIO_MODE_OUTPUT_PP;
  GPIO_InitStruct.Pull = GPIO_NOPULL;
  GPIO_InitStruct.Speed = GPIO_SPEED_HIGH;
  HAL_GPIO_Init(Ultrasonic_trigger_GPIO_Port, &GPIO_InitStruct);

  /*Configure GPIO pin : Ultrasonic_echo_Pin */
  GPIO_InitStruct.Pin = Ultrasonic_echo_Pin;
  GPIO_InitStruct.Mode = GPIO_MODE_IT_RISING_FALLING;
  GPIO_InitStruct.Pull = GPIO_NOPULL;
  HAL_GPIO_Init(Ultrasonic_echo_GPIO_Port, &GPIO_InitStruct);

  /*Configure GPIO pins : DM_Pin DP_Pin */
  GPIO_InitStruct.Pin = DM_Pin|DP_Pin;
  GPIO_InitStruct.Mode = GPIO_MODE_AF_PP;
  GPIO_InitStruct.Pull = GPIO_NOPULL;
  GPIO_InitStruct.Speed = GPIO_SPEED_HIGH;
  GPIO_InitStruct.Alternate = GPIO_AF14_USB;
  HAL_GPIO_Init(GPIOA, &GPIO_InitStruct);

  /*Configure GPIO pin Output Level */
  HAL_GPIO_WritePin(GPIOE, CS_I2C_SPI_Pin|LD4_Pin|LD3_Pin|LD5_Pin
                          |LD7_Pin|LD9_Pin|LD10_Pin|LD8_Pin
                          |LD6_Pin, GPIO_PIN_RESET);

  /*Configure GPIO pin Output Level */
  HAL_GPIO_WritePin(Ultrasonic_trigger_GPIO_Port, Ultrasonic_trigger_Pin, GPIO_PIN_RESET);

  /* EXTI interrupt init*/
  HAL_NVIC_SetPriority(EXTI9_5_IRQn, 5, 0);
  HAL_NVIC_EnableIRQ(EXTI9_5_IRQn);

}

/* USER CODE BEGIN 4 */
void saturateInteger(int16_t* i, int16_t min, int16_t max) {
  int16_t val = *i;
  if (val < min) val = min;
  else if (val > max) val = max;
  *i = val;
}
void saturateFloat(float* i, float min, float max) {
  float val = *i;
  if (val < min) val = min;
  else if (val > max) val = max;
  *i = val;
}

float absFloat(float num){
  if (num >= 0) return num;
  else return num*-1;
}

float filter2 (float avg, float input, float alpha) {
  avg = (alpha * input) + (1.0 - alpha) * avg;
  return avg;
}

float calcSpdRef_LUT(int16_t inForce){
  float outForce = 0;
  uint8_t i;

  for (i = 0; i < 10; i++) {
    if (inForce <= inputAxis[i]) {
      if (inForce == inputAxis[i]) {
        outForce = outCurve[i];
        break;
      }
      else {
        outForce = outCurve[i-1] + ((outCurve[i] - outCurve[i-1])*(inForce-inputAxis[i-1]))/(inputAxis[i]-inputAxis[i-1]);
        break;
      }
    }
    else {
      outForce = outCurve[9];
    }
  }

  return outForce;
}

void HAL_GPIO_EXTI_Callback(uint16_t GPIO_Pin)
{
  if (GPIO_Pin==USER_BUTTON_PIN)
  {
    compassX_Max = -1000;
    UserButtonPressed++;
    if (!(UserButtonPressed % 2)) enaSwitch = 1;
    else enaSwitch = 0;
    referenceSpeedLeft = 2;

    TIM6->EGR = 1;           // Generate an update event
  }
  else if (GPIO_Pin==GPIO_PIN_8)
  {
    __asm("NOP");
    echoTimeStamp = TIM6->CNT;
  }
}

void HAL_TIM_IC_CaptureCallback(TIM_HandleTypeDef *htim)
{
  /* Get the Input Capture value */
  rawFrontDistance = HAL_TIM_ReadCapturedValue(htim, TIM_CHANNEL_1);

  // SystemCoreClock = APB1 timer clock = 48 MHz
  // Timer1 prescaler = 4800
  // => 1 tick = 100 us

  // Distance calculation from HC-SR04 datasheet:  uS / 58 = centimeters
  frontDistance = rawFrontDistance * 100.0 / 58 / 10;

}
/* USER CODE END 4 */

/* StartDefaultTask function */
void StartDefaultTask(void const * argument)
{

  /* USER CODE BEGIN 5 */
  uint8_t * p;
  char textBuffer[100];

  /* Infinite loop */
  for(;;)
  {
    if (enaSwitch) CompassLED(heading);
    osDelay(20);
    //HAL_UART_Transmit(&huart4,"kaka\r\n",6,10);
    //char lo = value & 0xFF;
    //char hi = value >> 8;
    int i = 0;
    p = (uint8_t*)&msTime;
    textBuffer[i++]=p[3];textBuffer[i++]=p[2];textBuffer[i++]=p[1];textBuffer[i++]=p[0];

    p = (uint8_t*)&posLeft;
    textBuffer[i++]=p[3];textBuffer[i++]=p[2];textBuffer[i++]=p[1];textBuffer[i++]=p[0];

    p = (uint8_t*)&posRight;
    textBuffer[i++]=p[3];textBuffer[i++]=p[2];textBuffer[i++]=p[1];textBuffer[i++]=p[0];

    p = (uint8_t*)&frontDistance;
    textBuffer[i++]=p[3];textBuffer[i++]=p[2];textBuffer[i++]=p[1];textBuffer[i++]=p[0];

    p = (uint8_t*)&roll;
    textBuffer[i++]=p[3];textBuffer[i++]=p[2];textBuffer[i++]=p[1];textBuffer[i++]=p[0];

    p = (uint8_t*)&pitch;
    textBuffer[i++]=p[3];textBuffer[i++]=p[2];textBuffer[i++]=p[1];textBuffer[i++]=p[0];

    p = (uint8_t*)&heading;
    textBuffer[i++]=p[3];textBuffer[i++]=p[2];textBuffer[i++]=p[1];textBuffer[i++]=p[0];

    p = (uint8_t*)&batteryVoltage;
    textBuffer[i++]=p[3];textBuffer[i++]=p[2];textBuffer[i++]=p[1];textBuffer[i++]=p[0];

    p = (uint8_t*)&spdLeftFiltered;
    textBuffer[i++]=p[3];textBuffer[i++]=p[2];textBuffer[i++]=p[1];textBuffer[i++]=p[0];

    p = (uint8_t*)&spdRightFiltered;
    textBuffer[i++]=p[3];textBuffer[i++]=p[2];textBuffer[i++]=p[1];textBuffer[i++]=p[0];

    textBuffer[i++]=receiveBuffer[0];
    textBuffer[i++]=receiveBuffer[1];
    textBuffer[i++]=receiveBuffer[2];

    textBuffer[i++]='k';textBuffer[i++]='u';textBuffer[i++]='k';textBuffer[i++]='i';

    //sprintf(textBuffer, "%c%c%c%c%c%c%c%c\r\n", (msTime >> 24) & 0xFF, (msTime >> 16) & 0xFF, (msTime >> 8) & 0xFF, msTime & 0xFF, (posLeft >> 24) & 0xFF, (posLeft >> 16) & 0xFF, (posLeft >> 8) & 0xFF, posLeft & 0xFF);
    HAL_UART_Transmit_DMA(&huart4,(uint8_t*)textBuffer, i);// sizeof(textBuffer)/sizeof(textBuffer[0]));

    //HAL_UART_Receive_DMA(&huart4,receiveBuffer,3);
    HAL_UART_Receive_IT(&huart4,receiveBuffer,3);

    referenceSpeedLeftPrev = referenceSpeedLeft;
    referenceSpeedRightPrev = referenceSpeedRight;
    lastSyncBranch = syncBranch;
    if (msTime - uart4RxTimeStamp < 200){
      if ((receiveBuffer[2] == 0xFF) || (receiveBuffer[1] == 0xFF) || (receiveBuffer[0] == 0xFF)){
        if ((receiveBuffer[2] == 0xFF) && (receiveBuffer[1] <=200) && (receiveBuffer[0] <=200)){
          if (receiveBuffer[0] - 100 >= 0) referenceSpeedLeft = calcSpdRef_LUT(receiveBuffer[0] - 100);
          else referenceSpeedLeft = -1*calcSpdRef_LUT(-1*(receiveBuffer[0] - 100));
          if (receiveBuffer[1] - 100 >= 0) referenceSpeedRight = calcSpdRef_LUT(receiveBuffer[1] - 100);
          else referenceSpeedRight = -1*calcSpdRef_LUT(-1*(receiveBuffer[1] - 100));
          syncBranch = 2;
        }
        else if ((receiveBuffer[1] == 0xFF) && (receiveBuffer[2] <=200) && (receiveBuffer[0] <=200)){
          if (receiveBuffer[2] - 100 >= 0) referenceSpeedLeft = calcSpdRef_LUT(receiveBuffer[2] - 100);
          else referenceSpeedLeft = -1*calcSpdRef_LUT(-1*(receiveBuffer[2] - 100));
          if (receiveBuffer[0] - 100 >= 0) referenceSpeedRight = calcSpdRef_LUT(receiveBuffer[0] - 100);
          else referenceSpeedRight = -1*calcSpdRef_LUT(-1*(receiveBuffer[0] - 100));
          syncBranch = 1;
        }
        else if ((receiveBuffer[0] == 0xFF) && (receiveBuffer[1] <=200) && (receiveBuffer[2] <=200)){
          if (receiveBuffer[1] - 100 >= 0) referenceSpeedLeft = calcSpdRef_LUT(receiveBuffer[1] - 100);
          else referenceSpeedLeft = -1*calcSpdRef_LUT(-1*(receiveBuffer[1] - 100));
          if (receiveBuffer[2] - 100 >= 0) referenceSpeedRight = calcSpdRef_LUT(receiveBuffer[2] - 100);
          else referenceSpeedRight = -1*calcSpdRef_LUT(-1*(receiveBuffer[2] - 100));
          syncBranch = 0;
        }
        else {
          referenceSpeedLeft = 0;
          referenceSpeedRight = 0;
        }
        if (lastSyncBranch != syncBranch) syncCorruption = 3;
        else {
          syncCorruption--;
          if (syncCorruption < 0) syncCorruption = 0;
        }
      }
      else if ((receiveBuffer[2] == 0xFE) || (receiveBuffer[1] == 0xFE) || (receiveBuffer[0] == 0xFE)){
        if ((receiveBuffer[2] == 0xFE) && (receiveBuffer[1] <=10) && (receiveBuffer[0] <=10)){
          //__asm("NOP");
          TIM8->CCR2 = receiveBuffer[0]*10*(2400/100);
        }
      }
    }
    else {
      referenceSpeedLeft = 0;
      referenceSpeedRight = 0;
      syncCorruption = 0;
    }
    if (syncCorruption == 0) referenceSpeedLeftQualified = referenceSpeedLeft*1;
    if (syncCorruption == 0) referenceSpeedRightQualified = referenceSpeedRight*1;
  }
  /* USER CODE END 5 */
}

/* StartSensorTask function */
void StartSensorTask(void const * argument)
{
  /* USER CODE BEGIN StartSensorTask */
  float gyroBuffer[3];
  float compassBuffer[3];
  float accelerometerBuffer[3] = {0};
  float temperatureBuffer[1] = {0};
  float temperatureBufferGyro[1] = {0};
  uint16_t taskCounter = 0;
  /* Infinite loop */
  for(;;)
  {
    taskCounter++;
    rawAngleLeft = TIM3->CNT;
    rawAngleRight = TIM4->CNT;

    posLeft_prev = posLeft;
    posRight_prev = posRight;

    posLeft = rawAngleLeft*toMeterFactor;
    posRight = rawAngleRight*toMeterFactor;

    spdLeft = (posLeft - posLeft_prev) * 50;
    spdRight = (posRight - posRight_prev) * 50;
    spdLeftFiltered = filter2(spdLeftFiltered, spdLeft, 0.2);
    spdRightFiltered = filter2(spdRightFiltered, spdRight, 0.2);

    /* Read Gyro Angular data */
    BSP_GYRO_GetXYZ(gyroBuffer);

    gyroX = gyroBuffer[0];
    gyroY = gyroBuffer[1];
    gyroZ = gyroBuffer[2];

    BSP_GYRO_GetTemp(temperatureBufferGyro);
    temperatureGyro = temperatureBufferGyro[0];

    /* Read Acceleration*/
    BSP_ACCELERO_GetXYZ(accelerometerBuffer);

    accX = accelerometerBuffer[0];
    accY = accelerometerBuffer[1];
    accZ = accelerometerBuffer[2];

    accXFiltered = filter2(accXFiltered, accX, 0.2);
    accYFiltered = filter2(accYFiltered, accY, 0.2);
    accZFiltered = filter2(accZFiltered, accZ, 0.2);

    accZFilteredKalman = kalman_single(accZ, 60, 10);
    accZFilteredLPF    = LPF(accZ,1,40);
    //roll  = atan2(accYFiltered, sqrt(accXFiltered*accXFiltered + accZFiltered*accZFiltered));
    //pitch = atan2(accXFiltered, sqrt(accYFiltered*accYFiltered + accZFiltered*accZFiltered));

    /* Read Magnetometer*/
    LSM303DLHC_MagReadXYZ(compassBuffer);
    compassX = compassBuffer[0];
    compassY = compassBuffer[1];
    compassZ = compassBuffer[2];

    if (compassX > compassX_Max) compassX_Max = compassX;
    if (compassY > compassY_Max) compassY_Max = compassY;
    if (compassZ > compassZ_Max) compassZ_Max = compassZ;
    if (compassX < compassX_Min) compassX_Min = compassX;
    if (compassY < compassY_Min) compassY_Min = compassY;
    if (compassZ < compassZ_Min) compassZ_Min = compassZ;

    //The code you quoted first subtracts the minimum raw value from the reading,
    //then divides it by the range between the minimum and maximum raw values,
    //which puts the reading into the range of 0 to 1.
    //It then multiplies the reading by 2 and subtracts 1 to put it in the range of -1 to 1.
    saturateFloat(&compassX, COMPASS_X_MIN, COMPASS_X_MAX);
    saturateFloat(&compassY, COMPASS_Y_MIN, COMPASS_Y_MAX);
    saturateFloat(&compassZ, COMPASS_Z_MIN, COMPASS_Z_MAX);
    compassX_Norm = (compassX - COMPASS_X_MIN) / (COMPASS_X_MAX - COMPASS_X_MIN) * 2 - 1.0;
    compassY_Norm = (compassY - COMPASS_Y_MIN) / (COMPASS_Y_MAX - COMPASS_Y_MIN) * 2 - 1.0;
    compassZ_Norm = (compassZ - COMPASS_Z_MIN) / (COMPASS_Z_MAX - COMPASS_Z_MIN) * 2 - 1.0;

    compassX_NormFiltered = filter2(compassX_NormFiltered, compassX_Norm, 0.3);
    compassY_NormFiltered = filter2(compassY_NormFiltered, compassY_Norm, 0.3);
    compassZ_NormFiltered = filter2(compassZ_NormFiltered, compassZ_Norm, 0.3);

    fNormAcc = sqrt((accXFiltered*accXFiltered)+(accYFiltered*accYFiltered)+(accZFiltered*accZFiltered));

    fSinRoll = -accYFiltered/fNormAcc;
    fCosRoll = sqrt(1.0-(fSinRoll * fSinRoll));
    fSinPitch = accXFiltered/fNormAcc;
    fCosPitch = sqrt(1.0-(fSinPitch * fSinPitch));

    if ( fSinRoll >0) {
      if (fCosRoll>0) roll = acos(fCosRoll)*180/PI;
      else            roll = acos(fCosRoll)*180/PI + 180;
    }
    else {
      if (fCosRoll>0) roll = acos(fCosRoll)*180/PI + 360;
      else            roll = acos(fCosRoll)*180/PI + 180;
    }

    if ( fSinPitch >0) {
      if (fCosPitch>0) pitch = acos(fCosPitch)*180/PI;
      else             pitch = acos(fCosPitch)*180/PI + 180;
    }
    else {
      if (fCosPitch>0) pitch = acos(fCosPitch)*180/PI + 360;
      else             pitch = acos(fCosPitch)*180/PI + 180;
    }

    if (roll >=360)  roll = 360 - roll;
    if (pitch >=360) pitch = 360 - pitch;

    compassX_NormFilteredTilted = compassX_NormFiltered*fCosPitch+compassZ_NormFiltered*fSinPitch;
    compassY_NormFilteredTilted = compassX_NormFiltered*fSinRoll*fSinPitch+compassY_NormFiltered*fCosRoll-compassY_NormFiltered*fSinRoll*fCosPitch;

    heading = (float) ((atan2f((float)compassY_NormFilteredTilted,(float)compassX_NormFilteredTilted))*180)/PI;
    heading += 180;

    if (heading < 0) heading = heading + 360;

    /*
    heading = atan2f(compassX_Norm, compassY_Norm);          // atan2 to calculate heading vector in x-y plane
    if(heading < 0) heading += _2PI;           // heading should be between 0 and 2PI
    else if(heading > _2PI) heading -= _2PI;
    heading *= _180_PI;                        // convert to degrees

    roll *= _180_PI;                        // convert to degrees
    pitch *= _180_PI;                        // convert to degrees
    */
    LSM303DLHC_MagReadTemp(temperatureBuffer);
    temperature = temperatureBuffer[0];

    rawADC = HAL_ADC_GetValue(&hadc1);
    batteryVoltage = rawADC/419.0;

    if (taskCounter % 2 == 0){
      HAL_GPIO_WritePin(GPIOB, GPIO_PIN_12, GPIO_PIN_SET);

      ultrasonicDelay = 100;
      while (--ultrasonicDelay);

      HAL_GPIO_WritePin(GPIOB, GPIO_PIN_12, GPIO_PIN_RESET);
    }
    osDelay(20);
  }
  /* USER CODE END StartSensorTask */
}

/* StartMotorCtrllTask function */
void StartMotorCtrllTask(void const * argument)
{
  /* USER CODE BEGIN StartMotorCtrllTask */
  /* Infinite loop */
  for(;;)
  {
    spdErrorLeftBefore = spdErrorLeft;
    spdErrorLeft = referenceSpeedLeftQualified - spdLeftFiltered;
    spdIntErrorLeft = spdIntErrorLeft + spdErrorLeft + antiWindup * (forceLeft - forceLeftBeforeSaturation);
    spdDerivatedErrorLeft = spdErrorLeft - spdErrorLeftBefore;

    forceLeft = (int)(ctrlP * spdErrorLeft + ctrlI * spdIntErrorLeft + ctrlD * spdDerivatedErrorLeft);
    forceLeftBeforeSaturation = forceLeft;

    spdErrorRightBefore = spdErrorRight;
    spdErrorRight = referenceSpeedRightQualified - spdRightFiltered;
    spdIntErrorRight = spdIntErrorRight + spdErrorRight + antiWindup * (forceRight - forceRightBeforeSaturation);
    spdDerivatedErrorRight = spdErrorRight - spdErrorRightBefore;

    forceRight = (int)(ctrlP * spdErrorRight + ctrlI * spdIntErrorRight + ctrlD * spdDerivatedErrorLeft);
    forceRightBeforeSaturation = forceRight;

    if ((absFloat(referenceSpeedLeftQualified) < 0.1) && (absFloat(spdErrorLeft) < 0.1)){
      spdIntErrorLeft-=spdIntErrorLeft*0.05;
    }
    if ((absFloat(referenceSpeedRightQualified) < 0.1) && (absFloat(spdErrorRight) < 0.1)){
      spdIntErrorRight-=spdIntErrorRight*0.05;
    }

    //if (spdErrorLeft*spdIntErrorLeft < 0)spdIntErrorLeft-=spdIntErrorLeft*0.1;
    //if (spdErrorRight*spdIntErrorRight < 0)spdIntErrorRight-=spdIntErrorRight*0.1;

    if (pitch > 5){
      hillHolderForceLeft = (int)(pitch*hillHolderGainBW);
      hillHolderForceRight = (int)(pitch*hillHolderGainBW);
      saturateInteger(&hillHolderForceLeft, -18, 18);
      saturateInteger(&hillHolderForceRight, -18, 18);
    }
    else if (pitch < -5){
      hillHolderForceLeft = (int)(pitch*hillHolderGainFW);
      hillHolderForceRight = (int)(pitch*hillHolderGainFW);
      saturateInteger(&hillHolderForceLeft, -18, 18);
      saturateInteger(&hillHolderForceRight, -18, 18);
    }
    else {
      hillHolderForceLeft = 0;
      hillHolderForceRight = 0;
    }

    summaForceLeft = forceLeft+hillHolderForceLeft;
    summaForceRight = forceRight+hillHolderForceRight;

    ////// PWM OUT //////
    saturateInteger(&summaForceLeft, -98, 98);
    absForceLeft = abs(summaForceLeft);
    saturateInteger(&summaForceRight, -98, 98);
    absForceRight = abs(summaForceRight);

    //forceLeft = 20;
    //forceRight = 20;

    if (forceLeft >= 0) {
      TIM2->CCR1 = 0;
      TIM2->CCR2 = absForceLeft*2400/100;
    }
    else {
      TIM2->CCR1 = absForceLeft*2400/100;
      TIM2->CCR2 = 0;
    }

    if (forceRight >= 0) {
      TIM2->CCR3 = 0;
      TIM2->CCR4 = absForceRight*2400/100;
    }
    else {
      TIM2->CCR3 = absForceRight*2400/100;
      TIM2->CCR4 = 0;
    }

    osDelay(1);
  }
  /* USER CODE END StartMotorCtrllTask */
}

/************************ (C) COPYRIGHT STMicroelectronics *****END OF FILE****/
